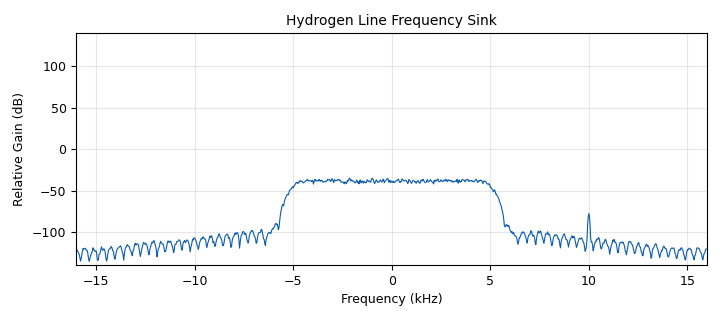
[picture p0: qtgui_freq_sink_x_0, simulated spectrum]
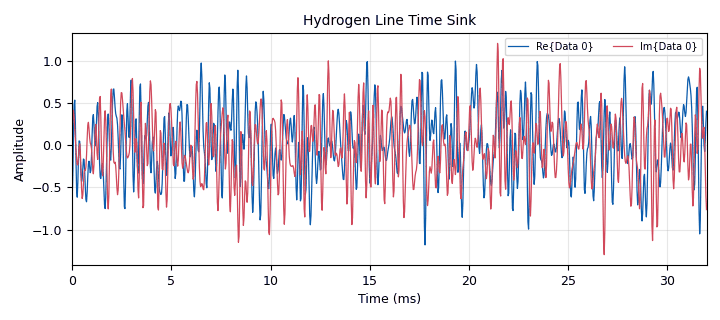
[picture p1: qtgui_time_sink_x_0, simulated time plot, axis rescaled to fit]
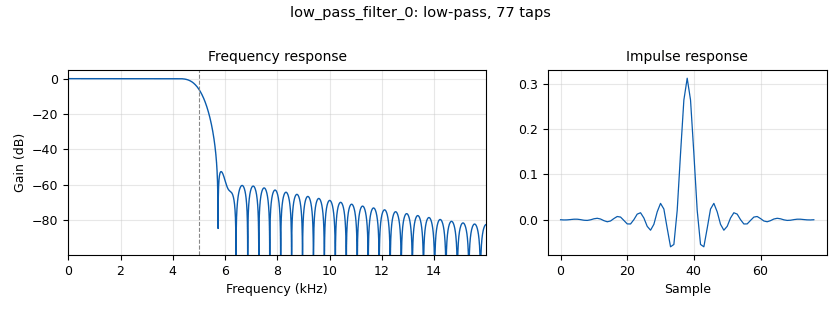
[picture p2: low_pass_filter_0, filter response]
options:
  parameters:
    generate_options: qt_gui
    id: Low_Pass_Filter_Noise_amplitude_1
    output_language: python
    title: Not titled yet
  states: {}

blocks:
- name: samp_rate
  id: variable
  parameters:
    value: '32000'
  states: {}
- name: analog_noise_source_x_0
  id: analog_noise_source_x
  parameters:
    amp: '1'
    noise_type: analog.GR_GAUSSIAN
    seed: '0'
    type: complex
  states: {}
- name: analog_sig_source_x_0
  id: analog_sig_source_x
  parameters:
    amp: '1'
    freq: 10e3
    offset: '0'
    phase: '0'
    samp_rate: samp_rate
    type: complex
    waveform: analog.GR_SIN_WAVE
  states: {}
- name: blocks_add_xx_0
  id: blocks_add_xx
  parameters:
    type: complex
  states: {}
- name: blocks_throttle2_0
  id: blocks_throttle2
  parameters:
    samples_per_second: samp_rate
    type: complex
  states: {}
- name: low_pass_filter_0
  id: low_pass_filter
  parameters:
    cutoff_freq: 5e3
    decim: '1'
    gain: '1'
    samp_rate: samp_rate
    type: fir_filter_ccf
    width: 1e3
    win: window.WIN_HAMMING
  states: {}
- name: qtgui_freq_sink_x_0
  id: qtgui_freq_sink_x
  parameters:
    average: '0.05'
    bw: samp_rate
    fc: '0'
    fftsize: '1024'
    name: '"Hydrogen Line Frequency Sink"'
    type: complex
    ymax: '140'
  states: {}
- name: qtgui_time_sink_x_0
  id: qtgui_time_sink_x
  parameters:
    name: '"Hydrogen Line Time Sink"'
    size: '1024'
    srate: samp_rate
    type: complex
  states: {}

connections:
- [analog_noise_source_x_0, '0', blocks_add_xx_0, '1']
- [analog_sig_source_x_0, '0', blocks_throttle2_0, '0']
- [blocks_add_xx_0, '0', low_pass_filter_0, '0']
- [blocks_throttle2_0, '0', blocks_add_xx_0, '0']
- [low_pass_filter_0, '0', qtgui_freq_sink_x_0, '0']
- [low_pass_filter_0, '0', qtgui_time_sink_x_0, '0']

metadata:
  file_format: 1
  grc_version: 3.10.9.2
